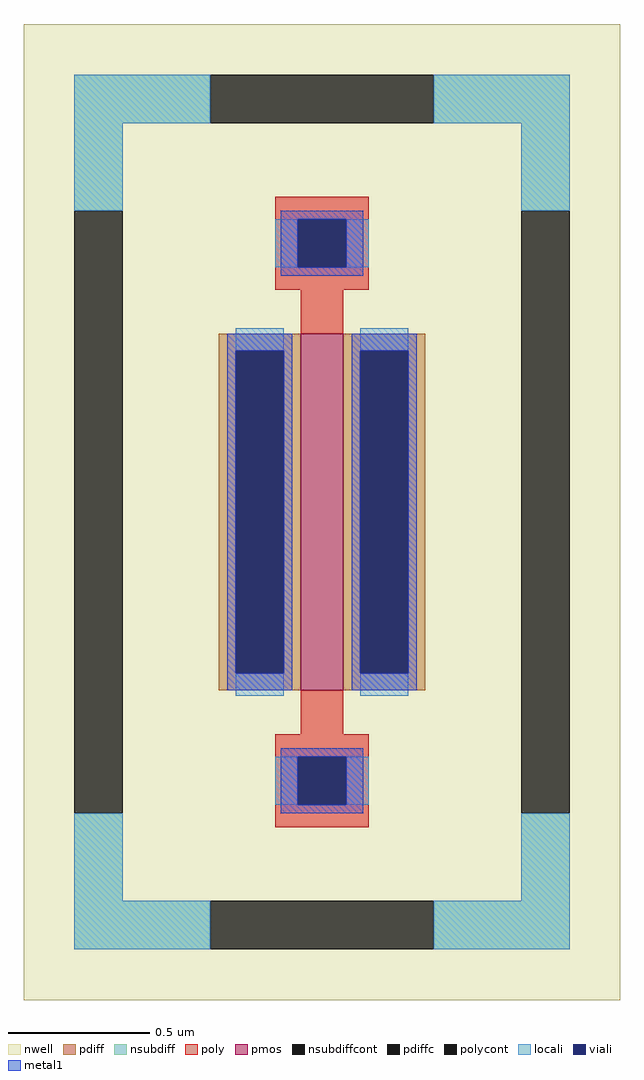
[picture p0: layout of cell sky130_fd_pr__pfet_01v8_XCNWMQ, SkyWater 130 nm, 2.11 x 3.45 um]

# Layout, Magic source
magic
tech sky130A
magscale 1 2
<< nwell >>
rect -211 -345 211 345
<< pmos >>
rect -15 -126 15 126
<< pdiff >>
rect -73 114 -15 126
rect -73 -114 -61 114
rect -27 -114 -15 114
rect -73 -126 -15 -114
rect 15 114 73 126
rect 15 -114 27 114
rect 61 -114 73 114
rect 15 -126 73 -114
<< pdiffc >>
rect -61 -114 -27 114
rect 27 -114 61 114
<< nsubdiff >>
rect -175 275 -79 309
rect 79 275 175 309
rect -175 213 -141 275
rect 141 213 175 275
rect -175 -275 -141 -213
rect 141 -275 175 -213
rect -175 -309 -79 -275
rect 79 -309 175 -275
<< nsubdiffcont >>
rect -79 275 79 309
rect -175 -213 -141 213
rect 141 -213 175 213
rect -79 -309 79 -275
<< poly >>
rect -33 207 33 223
rect -33 173 -17 207
rect 17 173 33 207
rect -33 157 33 173
rect -15 126 15 157
rect -15 -157 15 -126
rect -33 -173 33 -157
rect -33 -207 -17 -173
rect 17 -207 33 -173
rect -33 -223 33 -207
<< polycont >>
rect -17 173 17 207
rect -17 -207 17 -173
<< locali >>
rect -175 275 -79 309
rect 79 275 175 309
rect -175 213 -141 275
rect 141 213 175 275
rect -33 173 -17 207
rect 17 173 33 207
rect -61 114 -27 130
rect -61 -130 -27 -114
rect 27 114 61 130
rect 27 -130 61 -114
rect -33 -207 -17 -173
rect 17 -207 33 -173
rect -175 -275 -141 -213
rect 141 -275 175 -213
rect -175 -309 -79 -275
rect 79 -309 175 -275
<< viali >>
rect -17 173 17 207
rect -61 -114 -27 114
rect 27 -114 61 114
rect -17 -207 17 -173
<< metal1 >>
rect -29 207 29 213
rect -29 173 -17 207
rect 17 173 29 207
rect -29 167 29 173
rect -67 114 -21 126
rect -67 -114 -61 114
rect -27 -114 -21 114
rect -67 -126 -21 -114
rect 21 114 67 126
rect 21 -114 27 114
rect 61 -114 67 114
rect 21 -126 67 -114
rect -29 -173 29 -167
rect -29 -207 -17 -173
rect 17 -207 29 -173
rect -29 -213 29 -207
<< properties >>
string FIXED_BBOX -158 -292 158 292
string gencell sky130_fd_pr__pfet_01v8
string library sky130
string parameters w 1.26 l 0.15 m 1 nf 1 diffcov 100 polycov 100 guard 1 glc 1 grc 1 gtc 1 gbc 1 tbcov 100 rlcov 100 topc 1 botc 1 poverlap 0 doverlap 1 lmin 0.15 wmin 0.42 compatible {sky130_fd_pr__pfet_01v8  sky130_fd_pr__pfet_01v8_lvt sky130_fd_pr__pfet_01v8_hvt  sky130_fd_pr__pfet_g5v0d10v5} full_metal 1 viasrc 100 viadrn 100 viagate 100 viagb 0 viagr 0 viagl 0 viagt 0
<< end >>
